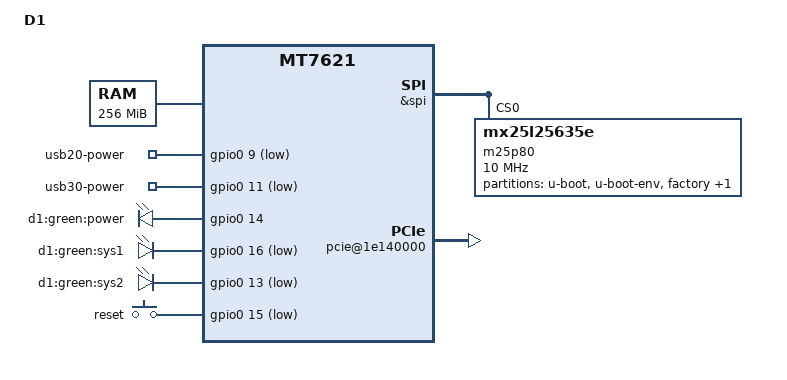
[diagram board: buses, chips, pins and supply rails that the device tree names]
/dts-v1/;

/include/ "mt7621.dtsi"

/ {
        compatible = "mediatek,mt7621-eval-board", "mediatek,mt7621-soc";
        model = "D1";

        memory@0 {
                device_type = "memory";
                reg = <0x0 0x10000000>;
        };

        chosen {
                bootargs = "console=ttyS0,115200";
        };

        palmbus@1E000000 {

                gpio@600 {
                        gpio0: bank@0 {
                                 status = "okay";
                        };
                        gpio1: bank@1 {
                                 status = "okay";
                        };
                 };

                &spi {
                        status = "okay";

                        m25p80@0 {
                                #address-cells = <1>;
                                #size-cells = <1>;
                                compatible = "mx25l25635e";
                                reg = <0 0>;
                                linux,modalias = "m25p80";
                                spi-max-frequency = <10000000>;

                                partition@0 {
                                        label = "u-boot";
                                        reg = <0x0 0x30000>;
                                        //read-only; 
                                };

                                partition@30000 {
                                        label = "u-boot-env";
                                        reg = <0x30000 0x10000>;
                                        //read-only;
                                };

                                factory: partition@40000 {
                                        label = "factory";
                                        reg = <0x40000 0x10000>;
                                };

                                partition@50000 {
                                        label = "firmware";
                                        reg = <0x50000 0xfb0000>;
                                };

                        };
                };

        };

        pcie@1e140000 {
                status = "okay";

                pcie0 {
                        mt76@0,0 {
                                reg = <0x0000 0 0 0 0>;
                                device_type = "pci";
                                mediatek,mtd-eeprom = <&factory 0x8000>;
                                mediatek,2ghz = <0>;
                        };
                };

                pcie1 {
                        mt76@1,0 {
                                reg = <0x0000 0 0 0 0>;
                                device_type = "pci";
                                mediatek,mtd-eeprom = <&factory 0x0000>;
                                mediatek,5ghz = <0>;
                        };
                };
        };

        ethernet@1e100000 {
                mtd-mac-address = <&factory 0xe000>;
        };

        gpio_export {
                compatible = "gpio-export";
                #size-cells = <0>;
                usb20-power {
                        gpio-export,name = "usb20-power";
                        gpio-export,output = <1>;
                        gpios = <&gpio0 9 1>;
                };
                usb30-power {
                        gpio-export,name = "usb30-power";
                        gpio-export,output = <1>;
                        gpios = <&gpio0 11 1>;
                };
        };

        gpio-leds {
                compatible = "gpio-leds";

                power {
                        label = "d1:green:power";
                        gpios = <&gpio0 14 0>;
                };

                sys1 {
                        label = "d1:green:sys1";
                        gpios = <&gpio0 16 1>;
                };

                sys2 {
                        label = "d1:green:sys2";
                        gpios = <&gpio0 13 1>;
                };

        };

        gpio-keys-polled {
                compatible = "gpio-keys-polled";
                #address-cells = <1>;
                #size-cells = <0>;
                poll-interval = <20>;
                reset {
                        label = "reset";
                        gpios = <&gpio0 15 1>;
                        linux,code = <0x198>;
                };
        };

        pinctrl {
                state_default: pinctrl0 {
                gpio {
                                ralink,group = "rgmii2", "jtag", "wdt rst", "mdio", "sdhci", "uart2", "uart3";
                                ralink,function = "gpio";
                        };
                };
        };

};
